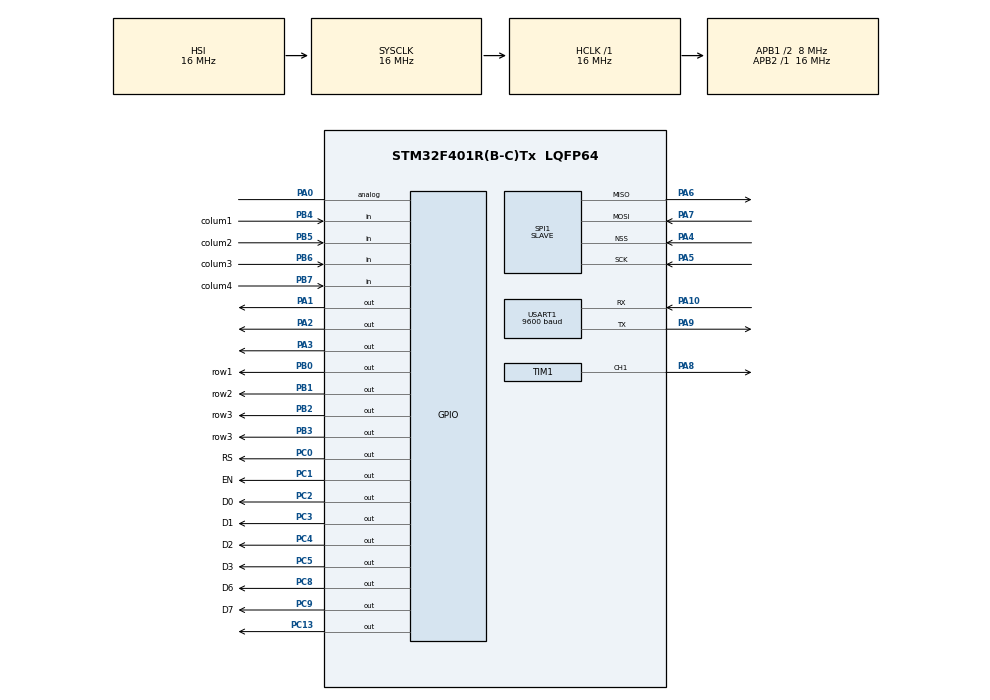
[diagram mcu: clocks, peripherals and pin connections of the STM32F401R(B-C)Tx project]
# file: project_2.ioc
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Mcu.Family=STM32F4
Mcu.Name=STM32F401R(B-C)Tx
Mcu.Package=LQFP64
NVIC.PriorityGroup=NVIC_PRIORITYGROUP_4
NVIC.SPI1_IRQn=true\:0\:0\:false\:false\:true\:true\:true\:true
NVIC.TIM1_BRK_TIM9_IRQn=true\:0\:0\:false\:false\:true\:true\:true\:true
NVIC.TIM1_TRG_COM_TIM11_IRQn=true\:0\:0\:false\:false\:true\:true\:true\:true
NVIC.TIM1_UP_TIM10_IRQn=true\:0\:0\:false\:false\:true\:true\:true\:true
PA0-WKUP.Signal=GPIO_Analog
PA1.Signal=GPIO_Output
PA10.Mode=Asynchronous
PA10.Signal=USART1_RX
PA13.Mode=Serial_Wire
PA13.Signal=SYS_JTMS-SWDIO
PA14.Mode=Serial_Wire
PA14.Signal=SYS_JTCK-SWCLK
PA2.Signal=GPIO_Output
PA3.Signal=GPIO_Output
PA4.Mode=NSS_Signal_Hard_Input
PA4.Signal=SPI1_NSS
PA5.Mode=Full_Duplex_Slave
PA5.Signal=SPI1_SCK
PA6.Mode=Full_Duplex_Slave
PA6.Signal=SPI1_MISO
PA7.Mode=Full_Duplex_Slave
PA7.Signal=SPI1_MOSI
PA8.Signal=S_TIM1_CH1
PA9.Mode=Asynchronous
PA9.Signal=USART1_TX
PB0.GPIO_Label=row1
PB0.GPIO_ModeDefaultOutputPP=GPIO_MODE_OUTPUT_PP
PB0.GPIO_PuPd=GPIO_NOPULL
PB0.Signal=GPIO_Output
PB1.GPIO_Label=row2
PB1.Signal=GPIO_Output
PB2.GPIO_Label=row3
PB2.Signal=GPIO_Output
PB3.GPIO_Label=row3
PB3.Signal=GPIO_Output
PB4.GPIO_Label=colum1
PB4.GPIO_PuPd=GPIO_PULLDOWN
PB4.Signal=GPIO_Input
PB5.GPIO_Label=colum2
PB5.GPIO_PuPd=GPIO_PULLDOWN
PB5.Signal=GPIO_Input
PB6.GPIO_Label=colum3
PB6.GPIO_PuPd=GPIO_PULLDOWN
PB6.Signal=GPIO_Input
PB7.GPIO_Label=colum4
PB7.GPIO_PuPd=GPIO_PULLDOWN
PB7.Signal=GPIO_Input
PC0.GPIO_Label=RS
PC0.Signal=GPIO_Output
PC1.GPIO_Label=EN
PC1.Signal=GPIO_Output
PC13-ANTI_TAMP.Signal=GPIO_Output
PC2.GPIO_Label=D0
PC2.Signal=GPIO_Output
PC3.GPIO_Label=D1
PC3.Signal=GPIO_Output
PC4.GPIO_Label=D2
PC4.Signal=GPIO_Output
PC5.GPIO_Label=D3
PC5.Signal=GPIO_Output
PC8.GPIO_Label=D6
PC8.Signal=GPIO_Output
PC9.GPIO_Label=D7
PC9.Signal=GPIO_Output
ProjectManager.HeapSize=0x200
ProjectManager.StackSize=0x400
ProjectManager.TargetToolchain=STM32CubeIDE
RCC.48MHZClocksFreq_Value=20480000
RCC.AHBFreq_Value=16000000
RCC.APB1CLKDivider=RCC_HCLK_DIV2
RCC.APB1Freq_Value=8000000
RCC.APB1TimFreq_Value=16000000
RCC.APB2Freq_Value=16000000
RCC.APB2TimFreq_Value=16000000
RCC.CortexFreq_Value=16000000
RCC.HCLKFreq_Value=16000000
RCC.HSE_VALUE=25000000
RCC.HSI_VALUE=16000000
RCC.LSE_VALUE=32768
RCC.PLLM=25
RCC.PLLN=128
RCC.SYSCLKFreq_VALUE=16000000
RCC.VCOOutputFreq_Value=81920000
SH.S_TIM1_CH1.0=TIM1_CH1,PWM Generation1 CH1
SPI1.Direction=SPI_DIRECTION_2LINES
SPI1.Mode=SPI_MODE_SLAVE
SPI1.VirtualNSS=VM_NSSHARD
SPI1.VirtualType=VM_SLAVE
TIM1.Channel-PWM\ Generation1\ CH1=TIM_CHANNEL_1
TIM1.Period=2000-1
TIM1.Prescaler=160-1
USART1.BaudRate=9600
USART1.VirtualMode=VM_ASYNC
VP_TIM1_VS_ClockSourceINT.Mode=Internal
board=custom

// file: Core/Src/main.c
/* USER CODE BEGIN Header */
/**
  ******************************************************************************
  * @file           : main.c
  * @brief          : Main program body
  ******************************************************************************
  * @attention
  *
  * Copyright (c) 2024 STMicroelectronics.
  * All rights reserved.
  *
  * This software is licensed under terms that can be found in the LICENSE file
  * in the root directory of this software component.
  * If no LICENSE file comes with this software, it is provided AS-IS.
  *
  ******************************************************************************
  */
/* USER CODE END Header */
#include "main.h"
#include "spi.h"
#include "tim.h"
#include "usart.h"
#include "gpio.h"

/* USER CODE BEGIN Includes */
#include "string.h"
#include "lcd_cfg.h"
#include "keypad_cfg.h"
#include "led_cfg.h"
#include "servo_cfg.h"
/* USER CODE END Includes */

/* USER CODE BEGIN PV */
uint8_t keypad_value = 0 ;                 //reed value from keypad
StdReturnType ret = E_OK;                  //return status
uint32_t adc_value;                        //for debug
char mes[50];                              //convert uint to string
uint8_t password_value[4] = {0,0,0,0};     //password from keypad
uint8_t spi_receive[2] ;                   //spi data receive
uint8_t conter_spi = 1 ;                   //spi counter helper
/* USER CODE END PV */

void SystemClock_Config(void);

/* USER CODE BEGIN 0 */
void HAL_SPI_RxCpltCallback(SPI_HandleTypeDef *hspi)
{
  /* Prevent unused argument(s) compilation warning */
	HAL_SPI_Receive_IT(&hspi1,&spi_receive[0],1);
	//conter_spi++;
	//if(conter_spi == 2){
	//	conter_spi = 0;
	//}
  UNUSED(hspi);

  /* NOTE : This function should not be modified, when the callback is needed,
            the HAL_SPI_RxCpltCallback should be implemented in the user file
   */
}
/* USER CODE END 0 */

int main(void)
{

  /* MCU Configuration--------------------------------------------------------*/

  /* Reset of all peripherals, Initializes the Flash interface and the Systick. */
  HAL_Init();

  /* USER CODE BEGIN Init */
  uint8_t counter = 0 ; //counter for password
  /* USER CODE END Init */

  /* Configure the system clock */
  SystemClock_Config();

  /* Initialize all configured peripherals */
  MX_GPIO_Init();
  MX_TIM1_Init();
  MX_USART1_UART_Init();
  MX_SPI1_Init();
  /* USER CODE BEGIN 2 */

  HAL_SPI_Receive_IT(&hspi1,&spi_receive[0],1);

   ret = lcd_4bit_intialize(&lcd1);
   lcd_4bit_send_string_pos(&lcd1,1,2,"welcome");
   lcd_4bit_send_string_pos(&lcd1,2,2,"password :");
  /* USER CODE END 2 */

  /* Infinite loop */
  /* USER CODE BEGIN WHILE */
  while (1)
  {
	  /*motor close door*/
	  HAL_GPIO_WritePin(GPIOA, GPIO_PIN_1, GPIO_PIN_RESET);
	  servo_Motor_Start_angle_0(&servo);
	  /* take value from keypad*/
	  ret =  keypad_get_value(&keypad_row_1,&keypad_colum_1,&keypad_value);
	  /* chick for four password number*/
	  if(keypad_value){
		  lcd_4bit_send_string_pos(&lcd1,2,(12 + counter),"*");
		  password_value[counter] = keypad_value;
		  counter++;
		  keypad_value = 0;
	  }
	  if(password_value[3] != 0){
		  if((password_value[0] == '1') && (password_value[1] == '1') &&
		     (password_value[2] == '1') && (password_value[3] == '1') ){
			  lcd_4bit_send_command(&lcd1, _LCD_CLEAR);
			  lcd_4bit_send_string_pos(&lcd1,1,1,"password correct");
			  HAL_Delay(20);
			  /* Application */
			  HAL_GPIO_WritePin(GPIOA, GPIO_PIN_1, GPIO_PIN_SET);
			  servo_Motor_Start_angle_90(&servo);  //door open
			  while (1){
				  ret =  keypad_get_value(&keypad_row_1,&keypad_colum_1,&keypad_value);
				  if(keypad_value == 'A'){
					  lcd_4bit_send_command(&lcd1, _LCD_CLEAR);
					  lcd_4bit_send_string_pos(&lcd1,1,2,"Bye-Bye!");
					  HAL_Delay(30);
					  HAL_GPIO_WritePin(GPIOA, GPIO_PIN_1, GPIO_PIN_RESET);
					  servo_Motor_Start_angle_0(&servo);  //door closed
					  break;
				  }

				  	  while(spi_receive[0] >= 40){
				  		  HAL_GPIO_TogglePin(GPIOA, GPIO_PIN_2);
				  		  HAL_GPIO_TogglePin(GPIOA, GPIO_PIN_3);
				  		  HAL_GPIO_TogglePin(GPIOA, GPIO_PIN_1);
				  		  HAL_Delay(60);
				  	  }
			  }

		  }else{
			  lcd_4bit_send_command(&lcd1, _LCD_CLEAR);
			  lcd_4bit_send_string_pos(&lcd1,1,2,"password wrong:");
		  }
		  for (uint8_t i =0 ; i< sizeof(password_value) ; i++){
			  password_value[i] = 0 ;
		  }
		  lcd_4bit_send_command(&lcd1, _LCD_CLEAR);
		  lcd_4bit_send_string_pos(&lcd1,1,2,"welcome");
		  lcd_4bit_send_string_pos(&lcd1,2,2,"password :");
		  counter = 0;
	  }

	  while(spi_receive[0] >= 40){
		  HAL_GPIO_TogglePin(GPIOA, GPIO_PIN_2);
		  HAL_GPIO_TogglePin(GPIOA, GPIO_PIN_3);
		  HAL_GPIO_TogglePin(GPIOA, GPIO_PIN_1);
		  HAL_Delay(60);
	  }

    /* USER CODE END WHILE */

  }
}

void SystemClock_Config(void)
{
  RCC_OscInitTypeDef RCC_OscInitStruct = {0};
  RCC_ClkInitTypeDef RCC_ClkInitStruct = {0};

  /** Configure the main internal regulator output voltage
  */
  __HAL_RCC_PWR_CLK_ENABLE();
  __HAL_PWR_VOLTAGESCALING_CONFIG(PWR_REGULATOR_VOLTAGE_SCALE2);

  /** Initializes the RCC Oscillators according to the specified parameters
  * in the RCC_OscInitTypeDef structure.
  */
  RCC_OscInitStruct.OscillatorType = RCC_OSCILLATORTYPE_HSI;
  RCC_OscInitStruct.HSIState = RCC_HSI_ON;
  RCC_OscInitStruct.HSICalibrationValue = RCC_HSICALIBRATION_DEFAULT;
  RCC_OscInitStruct.PLL.PLLState = RCC_PLL_NONE;
  if (HAL_RCC_OscConfig(&RCC_OscInitStruct) != HAL_OK)
  {
    Error_Handler();
  }

  /** Initializes the CPU, AHB and APB buses clocks
  */
  RCC_ClkInitStruct.ClockType = RCC_CLOCKTYPE_HCLK|RCC_CLOCKTYPE_SYSCLK
                              |RCC_CLOCKTYPE_PCLK1|RCC_CLOCKTYPE_PCLK2;
  RCC_ClkInitStruct.SYSCLKSource = RCC_SYSCLKSOURCE_HSI;
  RCC_ClkInitStruct.AHBCLKDivider = RCC_SYSCLK_DIV1;
  RCC_ClkInitStruct.APB1CLKDivider = RCC_HCLK_DIV2;
  RCC_ClkInitStruct.APB2CLKDivider = RCC_HCLK_DIV1;

  if (HAL_RCC_ClockConfig(&RCC_ClkInitStruct, FLASH_LATENCY_0) != HAL_OK)
  {
    Error_Handler();
  }
}

void Error_Handler(void)
{
  __disable_irq();
  while (1)
  {
  }
}
